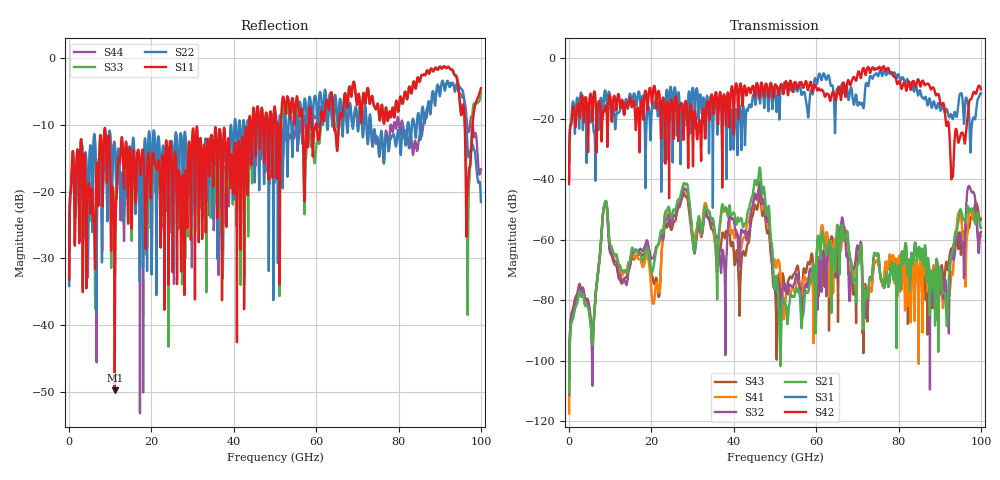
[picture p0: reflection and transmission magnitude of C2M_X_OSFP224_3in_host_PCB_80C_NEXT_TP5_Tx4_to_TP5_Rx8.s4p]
# GHz S RI R 45
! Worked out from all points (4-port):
!   4000 points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, 25 MHz to 100 GHz, reference 45 ohm
!   strongest paths, dB at 25 MHz, 25.02 GHz, 50.02 GHz, 75.03 GHz, 100 GHz:
!     S42: -41.5, -14.7, -8.6, -3.2, -10.2
!     S31: -39.7, -15.6, -10.6, -5.9, -11.5
!     S21: -110.5, -51.9, -74.6, -64.5, -56.0
!     S32: -111.3, -54.2, -75.7, -64.5, -57.4
!     S41: -117.3, -53.6, -67.3, -66.7, -58.6
!     S43: -107.8, -56.0, -75.8, -66.9, -53.0
!   lowest |S11| = -49.8 dB at 11.1 GHz (marker M1), VSWR 1.01, Z = 44.9 + j0.285 ohm
!   |S11| at or under -10 dB: start of sweep to 43.7 GHz; 56.74 GHz to 58.18 GHz (1.445 GHz wide, 2.51 % of centre); 96.08 GHz to 98 GHz (1.925 GHz wide, 1.98 % of centre) (the widest 3 of 14)
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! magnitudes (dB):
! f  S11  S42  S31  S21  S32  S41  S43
! 25 MHz  -33.1  -41.5  -39.7  -110.5  -111.3  -117.3  -107.8
! 11.1 GHz  -49.8  -12.6  -21.6  -64.8  -66.9  -65.5  -68.1
! 46.2 GHz  -11.2  -13.1  -13.0  -36.7  -41.5  -41.3  -45.4
! 51.3 GHz  -15.4  -9.0  -11.8  -101.7  -82.3  -71.4  -75.0
! 76.47 GHz  -9.8  -2.7  -4.0  -75.8  -75.9  -73.2  -73.1
! 93.03 GHz  -1.7  -39.1  -19.7  -64.3  -63.7  -71.1  -62.9
! 100 GHz  -4.5  -10.2  -11.5  -56.0  -57.4  -58.6  -53.0
